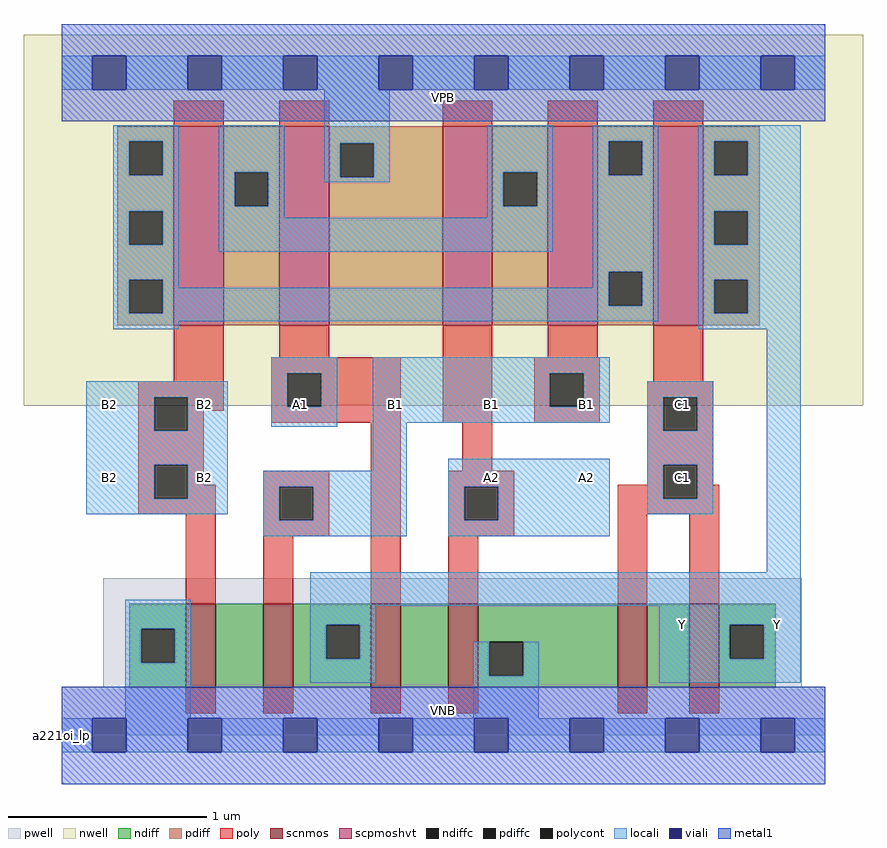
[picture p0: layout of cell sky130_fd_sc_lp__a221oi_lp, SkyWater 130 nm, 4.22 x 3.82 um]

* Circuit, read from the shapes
.subckt sky130_fd_sc_lp__a221oi_lp A1 A2 B1 B2 C1 VGND VNB VPB VPWR Y
XM1 n1 B2 VGND VNB sky130_fd_pr__nfet_01v8 w=0.42 l=0.15
XM2 Y B1 n1 VNB sky130_fd_pr__nfet_01v8 w=0.42 l=0.15
XM3 n2 A1 Y VNB sky130_fd_pr__nfet_01v8 w=0.42 l=0.15
XM4 VGND A2 n2 VNB sky130_fd_pr__nfet_01v8 w=0.42 l=0.15
XM5 n3 C1 VGND VNB sky130_fd_pr__nfet_01v8 w=0.42 l=0.15
XM6 Y C1 n3 VNB sky130_fd_pr__nfet_01v8 w=0.42 l=0.15
XM7 n4 B2 n5 VPB sky130_fd_pr__pfet_01v8_hvt w=1 l=0.25
XM8 VPWR A1 n4 VPB sky130_fd_pr__pfet_01v8_hvt w=1 l=0.25
XM9 n4 A2 VPWR VPB sky130_fd_pr__pfet_01v8_hvt w=1 l=0.25
XM10 n5 B1 n4 VPB sky130_fd_pr__pfet_01v8_hvt w=1 l=0.25
XM11 Y C1 n5 VPB sky130_fd_pr__pfet_01v8_hvt w=1 l=0.25
.ends

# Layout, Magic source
magic
tech sky130A
magscale 1 2
<< nwell >>
rect -38 331 806 704
<< pwell >>
rect 42 49 744 158
rect 0 0 768 49
<< scnmos >>
rect 125 48 155 132
rect 203 48 233 132
rect 311 48 341 132
rect 389 48 419 132
rect 559 48 589 132
rect 631 48 661 132
<< scpmoshvt >>
rect 113 412 163 612
rect 219 412 269 612
rect 383 412 433 612
rect 489 412 539 612
rect 595 412 645 612
<< ndiff >>
rect 68 107 125 132
rect 68 73 80 107
rect 114 73 125 107
rect 68 48 125 73
rect 155 48 203 132
rect 233 111 311 132
rect 233 77 266 111
rect 300 77 311 111
rect 233 48 311 77
rect 341 48 389 132
rect 419 94 559 132
rect 419 60 430 94
rect 464 60 559 94
rect 419 48 559 60
rect 589 48 631 132
rect 661 111 718 132
rect 661 77 672 111
rect 706 77 718 111
rect 661 48 718 77
<< pdiff >>
rect 56 597 113 612
rect 56 563 68 597
rect 102 563 113 597
rect 56 527 113 563
rect 56 493 68 527
rect 102 493 113 527
rect 56 458 113 493
rect 56 424 68 458
rect 102 424 113 458
rect 56 412 113 424
rect 163 566 219 612
rect 163 532 174 566
rect 208 532 219 566
rect 163 412 219 532
rect 269 595 383 612
rect 269 561 280 595
rect 314 561 383 595
rect 269 412 383 561
rect 433 566 489 612
rect 433 532 444 566
rect 478 532 489 566
rect 433 412 489 532
rect 539 597 595 612
rect 539 563 550 597
rect 584 563 595 597
rect 539 466 595 563
rect 539 432 550 466
rect 584 432 595 466
rect 539 412 595 432
rect 645 597 702 612
rect 645 563 656 597
rect 690 563 702 597
rect 645 527 702 563
rect 645 493 656 527
rect 690 493 702 527
rect 645 458 702 493
rect 645 424 656 458
rect 690 424 702 458
rect 645 412 702 424
<< ndiffc >>
rect 80 73 114 107
rect 266 77 300 111
rect 430 60 464 94
rect 672 77 706 111
<< pdiffc >>
rect 68 563 102 597
rect 68 493 102 527
rect 68 424 102 458
rect 174 532 208 566
rect 280 561 314 595
rect 444 532 478 566
rect 550 563 584 597
rect 550 432 584 466
rect 656 563 690 597
rect 656 493 690 527
rect 656 424 690 458
<< poly >>
rect 113 612 163 638
rect 219 612 269 638
rect 383 612 433 638
rect 489 612 539 638
rect 595 612 645 638
rect 113 356 163 412
rect 219 380 269 412
rect 77 340 163 356
rect 77 306 93 340
rect 127 326 163 340
rect 211 364 341 380
rect 211 330 227 364
rect 261 330 341 364
rect 127 306 143 326
rect 211 314 341 330
rect 383 314 433 412
rect 489 380 539 412
rect 475 364 541 380
rect 475 330 491 364
rect 525 330 541 364
rect 595 356 645 412
rect 475 314 541 330
rect 589 340 655 356
rect 77 272 143 306
rect 77 238 93 272
rect 127 252 143 272
rect 127 238 155 252
rect 77 222 155 238
rect 125 132 155 222
rect 203 250 269 266
rect 203 216 219 250
rect 253 216 269 250
rect 203 200 269 216
rect 203 132 233 200
rect 311 132 341 314
rect 403 266 433 314
rect 589 306 605 340
rect 639 306 655 340
rect 589 272 655 306
rect 389 250 455 266
rect 589 252 605 272
rect 389 216 405 250
rect 439 216 455 250
rect 389 200 455 216
rect 559 238 605 252
rect 639 252 655 272
rect 639 238 661 252
rect 559 222 661 238
rect 389 132 419 200
rect 559 132 589 222
rect 631 132 661 222
rect 125 22 155 48
rect 203 22 233 48
rect 311 22 341 48
rect 389 22 419 48
rect 559 22 589 48
rect 631 22 661 48
<< polycont >>
rect 93 306 127 340
rect 227 330 261 364
rect 491 330 525 364
rect 93 238 127 272
rect 219 216 253 250
rect 605 306 639 340
rect 405 216 439 250
rect 605 238 639 272
<< locali >>
rect 0 649 31 683
rect 65 649 127 683
rect 161 649 223 683
rect 257 649 319 683
rect 353 649 415 683
rect 449 649 511 683
rect 545 649 607 683
rect 641 649 703 683
rect 737 649 768 683
rect 52 597 118 613
rect 52 563 68 597
rect 102 563 118 597
rect 52 527 118 563
rect 52 493 68 527
rect 102 493 118 527
rect 52 458 118 493
rect 158 566 224 613
rect 158 532 174 566
rect 208 532 224 566
rect 264 595 330 649
rect 264 561 280 595
rect 314 561 330 595
rect 264 556 330 561
rect 428 566 494 613
rect 158 520 224 532
rect 428 532 444 566
rect 478 532 494 566
rect 428 520 494 532
rect 158 486 494 520
rect 534 597 600 613
rect 534 563 550 597
rect 584 563 600 597
rect 52 424 68 458
rect 102 450 118 458
rect 534 466 600 563
rect 534 450 550 466
rect 102 432 550 450
rect 584 432 600 466
rect 102 424 600 432
rect 52 416 600 424
rect 640 597 743 613
rect 640 563 656 597
rect 690 563 743 597
rect 640 527 743 563
rect 640 493 656 527
rect 690 493 743 527
rect 640 458 743 493
rect 640 424 656 458
rect 690 424 743 458
rect 52 408 118 416
rect 640 408 743 424
rect 211 364 277 380
rect 25 340 167 356
rect 25 306 93 340
rect 127 306 167 340
rect 211 330 227 364
rect 261 330 277 364
rect 211 310 277 330
rect 313 364 551 380
rect 313 330 491 364
rect 525 330 551 364
rect 313 314 551 330
rect 589 340 655 356
rect 25 272 167 306
rect 25 238 93 272
rect 127 238 167 272
rect 313 266 347 314
rect 589 306 605 340
rect 639 306 655 340
rect 25 222 167 238
rect 203 250 347 266
rect 203 216 219 250
rect 253 216 347 250
rect 203 200 347 216
rect 389 250 551 278
rect 389 216 405 250
rect 439 216 551 250
rect 589 272 655 306
rect 589 238 605 272
rect 639 238 655 272
rect 589 222 655 238
rect 389 200 551 216
rect 709 164 743 408
rect 64 107 130 136
rect 64 73 80 107
rect 114 73 130 107
rect 64 17 130 73
rect 250 130 743 164
rect 250 111 316 130
rect 250 77 266 111
rect 300 77 316 111
rect 601 111 743 130
rect 250 53 316 77
rect 414 60 430 94
rect 464 60 480 94
rect 414 17 480 60
rect 601 77 672 111
rect 706 77 743 111
rect 601 53 743 77
rect 0 -17 31 17
rect 65 -17 127 17
rect 161 -17 223 17
rect 257 -17 319 17
rect 353 -17 415 17
rect 449 -17 511 17
rect 545 -17 607 17
rect 641 -17 703 17
rect 737 -17 768 17
<< viali >>
rect 31 649 65 683
rect 127 649 161 683
rect 223 649 257 683
rect 319 649 353 683
rect 415 649 449 683
rect 511 649 545 683
rect 607 649 641 683
rect 703 649 737 683
rect 31 -17 65 17
rect 127 -17 161 17
rect 223 -17 257 17
rect 319 -17 353 17
rect 415 -17 449 17
rect 511 -17 545 17
rect 607 -17 641 17
rect 703 -17 737 17
<< metal1 >>
rect 0 683 768 715
rect 0 649 31 683
rect 65 649 127 683
rect 161 649 223 683
rect 257 649 319 683
rect 353 649 415 683
rect 449 649 511 683
rect 545 649 607 683
rect 641 649 703 683
rect 737 649 768 683
rect 0 617 768 649
rect 0 17 768 49
rect 0 -17 31 17
rect 65 -17 127 17
rect 161 -17 223 17
rect 257 -17 319 17
rect 353 -17 415 17
rect 449 -17 511 17
rect 545 -17 607 17
rect 641 -17 703 17
rect 737 -17 768 17
rect 0 -49 768 -17
<< labels >>
flabel pwell s 0 0 768 49 0 FreeSans 200 0 0 0 VNB
port 7 nsew ground bidirectional
flabel nwell s 0 617 768 666 0 FreeSans 200 0 0 0 VPB
port 8 nsew power bidirectional
rlabel comment s 0 0 0 0 4 a221oi_lp
flabel metal1 s 0 617 768 666 0 FreeSans 340 0 0 0 VPWR
port 9 nsew power bidirectional
flabel metal1 s 0 0 768 49 0 FreeSans 340 0 0 0 VGND
port 6 nsew ground bidirectional
flabel locali s 607 242 641 276 0 FreeSans 340 0 0 0 C1
port 5 nsew signal input
flabel locali s 607 316 641 350 0 FreeSans 340 0 0 0 C1
port 5 nsew signal input
flabel locali s 607 94 641 128 0 FreeSans 340 0 0 0 Y
port 10 nsew signal output
flabel locali s 703 94 737 128 0 FreeSans 340 0 0 0 Y
port 10 nsew signal output
flabel locali s 319 316 353 350 0 FreeSans 340 0 0 0 B1
port 3 nsew signal input
flabel locali s 415 316 449 350 0 FreeSans 340 0 0 0 B1
port 3 nsew signal input
flabel locali s 511 316 545 350 0 FreeSans 340 0 0 0 B1
port 3 nsew signal input
flabel locali s 415 242 449 276 0 FreeSans 340 0 0 0 A2
port 2 nsew signal input
flabel locali s 511 242 545 276 0 FreeSans 340 0 0 0 A2
port 2 nsew signal input
flabel locali s 223 316 257 350 0 FreeSans 340 0 0 0 A1
port 1 nsew signal input
flabel locali s 31 242 65 276 0 FreeSans 340 0 0 0 B2
port 4 nsew signal input
flabel locali s 31 316 65 350 0 FreeSans 340 0 0 0 B2
port 4 nsew signal input
flabel locali s 127 242 161 276 0 FreeSans 340 0 0 0 B2
port 4 nsew signal input
flabel locali s 127 316 161 350 0 FreeSans 340 0 0 0 B2
port 4 nsew signal input
<< properties >>
string LEFsite unit
string LEFclass CORE
string FIXED_BBOX 0 0 768 666
string GDS_FILE $PDKPATH/libs.ref/sky130_fd_sc_lp/gds/sky130_fd_sc_lp.gds
string LEFsymmetry X Y R90
string GDS_END 3960638
string GDS_START 3953130
<< end >>
